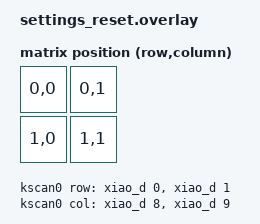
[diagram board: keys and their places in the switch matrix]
/*
 * Copyright (c) 2020 The ZMK Contributors
 *
 * SPDX-License-Identifier: MIT
 */

#include <dt-bindings/zmk/matrix_transform.h>
#include <zephyr/dt-bindings/input/input-event-codes.h>

&adc {
	status = "okay";
};

/ {
	chosen {
		zmk,kscan = &kscan0;
		zmk,matrix_transform = &default_transform;
	};

	default_transform: keymap_transform_0 {
		compatible = "zmk,matrix-transform";
		columns = <2>;
		rows = <2>;
// | SW1  | SW2  |
// | SW6  | SW7  |
		map = <
RC(0,0) RC(0,1) 
RC(1,0) RC(1,1) 
		>;
	};

	kscan0: kscan {
		compatible = "zmk,kscan-gpio-matrix";
		label = "KSCAN";

		diode-direction = "col2row";
			row-gpios
        		= <&xiao_d 0 (GPIO_ACTIVE_HIGH | GPIO_PULL_DOWN)>
        		, <&xiao_d 1 (GPIO_ACTIVE_HIGH | GPIO_PULL_DOWN)>
        		;
				col-gpios
				= <&xiao_d 8 GPIO_ACTIVE_HIGH>
				, <&xiao_d 9 GPIO_ACTIVE_HIGH>
				;
			};
	anin0: analog_input_0 {
		compatible = "zmk,analog-input";
		sampling-hz = <100>;
		x-ch {
			io-channels = <&adc 2>; // <--- see ain-map.png for nRF52840
			mv-mid = <1630>;
			mv-min-max = <1600>;
			mv-deadzone = <10>;
			scale-multiplier = <1>;
			scale-divisor = <70>;
			invert;
			evt-type = <INPUT_EV_REL>;
			input-code = <INPUT_REL_X>;
		};
		y-ch {
			io-channels = <&adc 3>; // <--- see ain-map.png for nRF52840
			mv-mid = <1630>;
			mv-min-max = <1600>;
			mv-deadzone = <10>;
			scale-multiplier = <3>;
			scale-divisor = <4>;
			invert;
			evt-type = <INPUT_EV_REL>;
			input-code = <INPUT_REL_Y>;

			/* enable report mdoe for gamepad axix or knob */
			/* to only call input_report on quantquantized value is updated */
			/* NOTE: mouse input does NOT need this */
			report-on-change-only;

		};
	};
};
